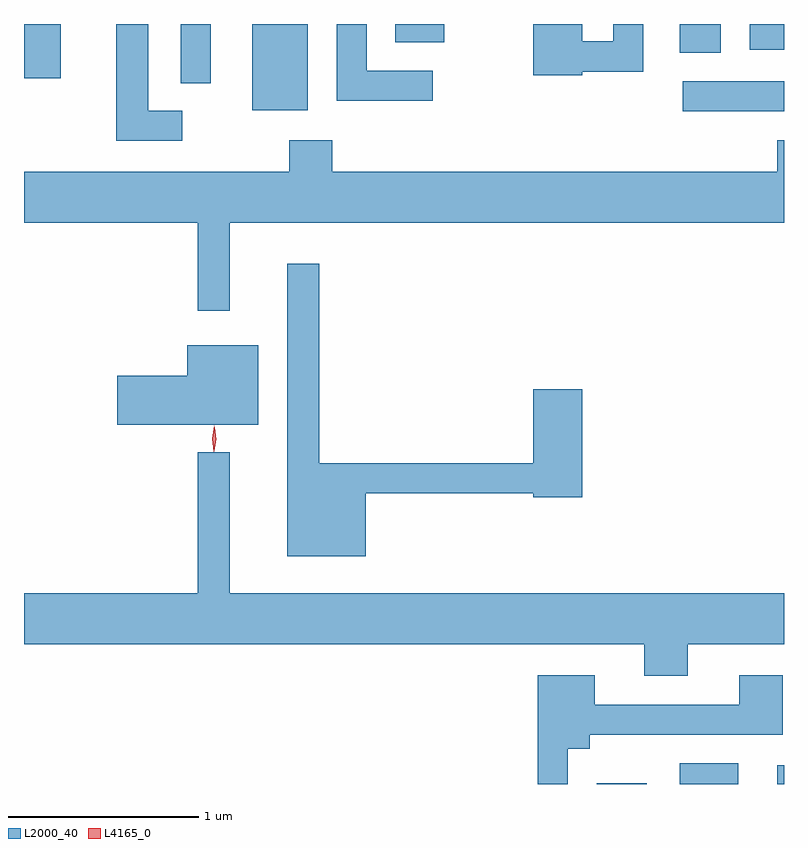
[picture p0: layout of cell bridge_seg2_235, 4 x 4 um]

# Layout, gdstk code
import gdstk
lib = gdstk.Library(unit=1e-6, precision=1e-09)
def R(c, l, rs):  # rectangles x0, y0, x1, y1
    for r in rs: c.add(gdstk.rectangle(r[:2], r[2:], *l))
def P(c, l, *ps):  # polygons
    for p in ps: c.add(gdstk.Polygon(p, *l))
L2000_40 = (2000, 40)
L4165_0 = (4165, 0)

bridge_seg2_235 = lib.new_cell('bridge_seg2_235')
R(bridge_seg2_235, L2000_40, [(600.771,1060.901,601.034,1060.904), (601.206,1060.901,601.514,1061.009), (601.721,1060.901,601.756,1060.999), (601.223,1064.441,601.756,1064.599), (598.956,1064.446,599.249,1064.901), (598.581,1064.588,598.739,1064.901), (597.756,1064.616,597.949,1064.901), (601.206,1064.751,601.424,1064.901), (601.576,1064.766,601.756,1064.901), (599.711,1064.806,599.969,1064.901)])
P(bridge_seg2_235, L2000_40, [(599.908,1064.654),(599.559,1064.654),(599.559,1064.901),(599.401,1064.901),(599.401,1064.496),(599.908,1064.496)],
  [(600.694,1064.651),(601.014,1064.651),(601.014,1064.901),(600.856,1064.901),(600.856,1064.809),(600.694,1064.809),(600.694,1064.901),(600.436,1064.901),(600.436,1064.631),(600.694,1064.631)],
  [(598.588,1064.444),(598.409,1064.444),(598.409,1064.901),(598.241,1064.901),(598.241,1064.286),(598.588,1064.286)],
  [(598.839,1063.856),(601.756,1063.856),(601.756,1064.289),(601.721,1064.289),(601.721,1064.124),(599.379,1064.124),(599.379,1064.289),(599.151,1064.289),(599.151,1064.124),(597.756,1064.124),(597.756,1063.856),(598.671,1063.856),(598.671,1063.393),(598.839,1063.393)],
  [(599.554,1062.431),(600.436,1062.431),(600.436,1062.411),(600.694,1062.411),(600.694,1062.979),(600.436,1062.979),(600.436,1062.589),(599.309,1062.589),(599.309,1063.638),(599.141,1063.638),(599.141,1062.101),(599.554,1062.101)],
  [(598.989,1063.209),(598.616,1063.209),(598.616,1063.049),(598.246,1063.049),(598.246,1062.791),(598.989,1062.791)],
  [(601.249,1061.636),(601.756,1061.636),(601.756,1061.904),(598.839,1061.904),(598.839,1062.648),(598.671,1062.648),(598.671,1061.904),(597.756,1061.904),(597.756,1061.636),(601.021,1061.636),(601.021,1061.471),(601.249,1061.471)],
  [(600.619,1061.086),(600.734,1061.086),(600.734,1061.161),(601.749,1061.161),(601.749,1061.474),(601.521,1061.474),(601.521,1061.319),(600.759,1061.319),(600.759,1061.474),(600.461,1061.474),(600.461,1060.901),(600.619,1060.901)])
P(bridge_seg2_235, L4165_0, [(598.756,1062.653),(598.756,1062.654),(598.748,1062.716),(598.758,1062.779),(598.758,1062.78),(598.759,1062.779),(598.768,1062.716),(598.757,1062.654)],
  [(598.754,1062.65),(598.746,1062.718),(598.756,1062.786),(598.757,1062.786),(598.757,1062.786),(598.766,1062.718),(598.755,1062.65),(598.755,1062.65)])

lib.write_gds('bridge_seg2_235.gds')
